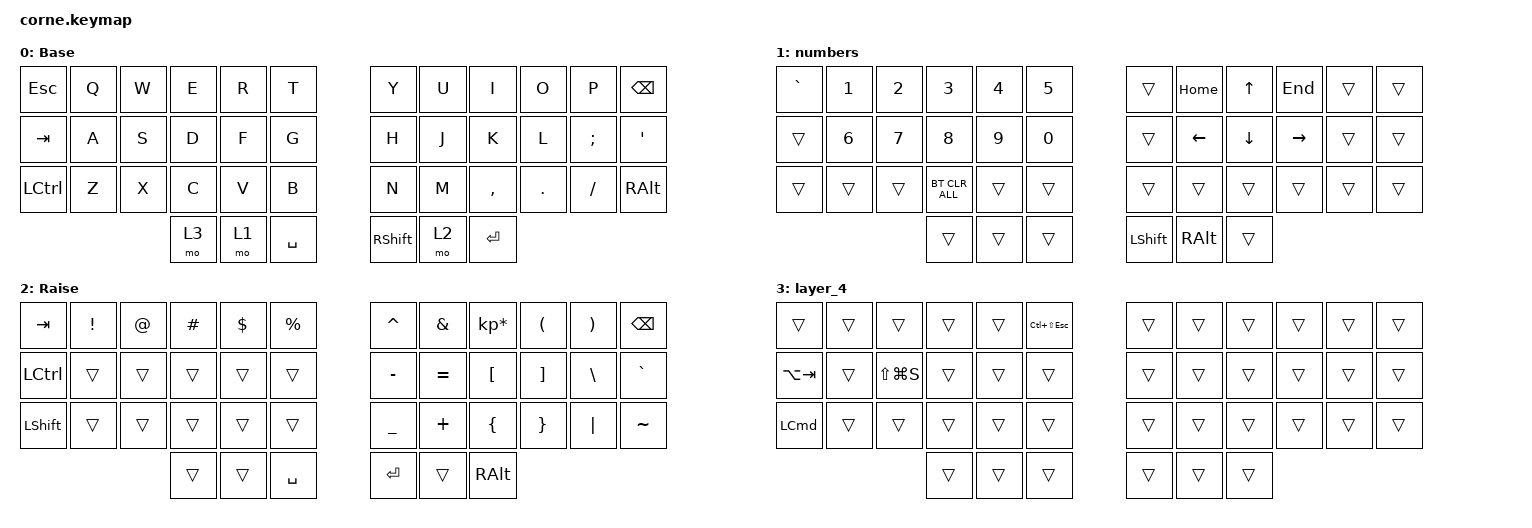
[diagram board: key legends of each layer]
/*
 * Copyright (c) 2020 The ZMK Contributors
 *
 * SPDX-License-Identifier: MIT
 */

#include <behaviors.dtsi>
#include <dt-bindings/zmk/bt.h>
#include <dt-bindings/zmk/keys.h>

/ {
    combos {
        compatible = "zmk,combos";

        MouseCombo {
            bindings = <&mo 0>;
            key-positions = <37 40>;
            layers = <0 1>;
        };
    };

    keymap {
        compatible = "zmk,keymap";

        default_layer {
            // -----------------------------------------------------------------------------------------
            // |  TAB |  Q  |  W  |  E  |  R  |  T  |   |  Y  |  U   |  I  |  O  |  P  | BKSP |
            // | CTRL |  A  |  S  |  D  |  F  |  G  |   |  H  |  J   |  K  |  L  |  ;  |  '   |
            // | SHFT |  Z  |  X  |  C  |  V  |  B  |   |  N  |  M   |  ,  |  .  |  /  | ESC  |
            //                    | GUI | LWR | SPC |   | ENT | RSE  | ALT |

            display-name = "Base";
            bindings = <
&kp ESCAPE        &kp Q  &kp W  &kp E  &kp R  &kp T        &kp Y            &kp U  &kp I      &kp O    &kp P          &kp BACKSPACE
&kp TAB           &kp A  &kp S  &kp D  &kp F  &kp G        &kp H            &kp J  &kp K      &kp L    &kp SEMICOLON  &kp SQT
&kp LEFT_CONTROL  &kp Z  &kp X  &kp C  &kp V  &kp B        &kp N            &kp M  &kp COMMA  &kp DOT  &kp FSLH       &kp RIGHT_ALT
                                &mo 3  &mo 1  &kp SPACE    &kp RIGHT_SHIFT  &mo 2  &kp ENTER
            >;
        };

        lower_layer {
            // -----------------------------------------------------------------------------------------
            // |  TAB |  1  |  2  |  3  |  4  |  5  |   |  6  |  7  |  8  |  9  |  0  | BKSP |
            // | BTCLR| BT1 | BT2 | BT3 | BT4 | BT5 |   | LFT | DWN |  UP | RGT |     |      |
            // | SHFT |     |     |     |     |     |   |     |     |     |     |     |      |
            //                    | GUI |     | SPC |   | ENT |     | ALT |

            display-name = "numbers";
            bindings = <
&kp GRAVE  &kp N1  &kp N2  &kp N3          &kp N4  &kp N5    &trans          &kp HOME        &kp UP_ARROW    &kp END          &trans  &trans
&trans     &kp N6  &kp N7  &kp N8          &kp N9  &kp N0    &trans          &kp LEFT_ARROW  &kp DOWN_ARROW  &kp RIGHT_ARROW  &trans  &trans
&trans     &trans  &trans  &bt BT_CLR_ALL  &trans  &trans    &trans          &trans          &trans          &trans           &trans  &trans
                           &trans          &trans  &trans    &kp LEFT_SHIFT  &kp RIGHT_ALT   &trans
            >;
        };

        raise_layer {
            // -----------------------------------------------------------------------------------------
            // |  TAB |  !  |  @  |  #  |  $  |  %  |   |  ^  |  &  |  *  |  (  |  )  | BKSP |
            // | CTRL |     |     |     |     |     |   |  -  |  =  |  [  |  ]  |  \  |  `   |
            // | SHFT |     |     |     |     |     |   |  _  |  +  |  {  |  }  | "|" |  ~   |
            //                    | GUI |     | SPC |   | ENT |     | ALT |

            display-name = "Raise";
            bindings = <
&kp TAB    &kp EXCL  &kp AT  &kp HASH  &kp DLLR  &kp PRCNT    &kp CARET  &kp AMPS   &kp KP_MULTIPLY  &kp LPAR  &kp RPAR  &kp BSPC
&kp LCTRL  &trans    &trans  &trans    &trans    &trans       &kp MINUS  &kp EQUAL  &kp LBKT         &kp RBKT  &kp BSLH  &kp GRAVE
&kp LSHFT  &trans    &trans  &trans    &trans    &trans       &kp UNDER  &kp PLUS   &kp LBRC         &kp RBRC  &kp PIPE  &kp TILDE
                             &trans    &trans    &kp SPACE    &kp RET    &trans     &kp RALT
            >;
        };

        layer_4 {
            bindings = <
&trans            &trans  &trans         &trans  &trans  &kp LC(LS(ESCAPE))    &trans  &trans  &trans  &trans  &trans  &trans
&kp LA(TAB)       &trans  &kp LS(LG(S))  &trans  &trans  &trans                &trans  &trans  &trans  &trans  &trans  &trans
&kp LEFT_COMMAND  &trans  &trans         &trans  &trans  &trans                &trans  &trans  &trans  &trans  &trans  &trans
                                         &trans  &trans  &trans                &trans  &trans  &trans
            >;
        };
    };
};
